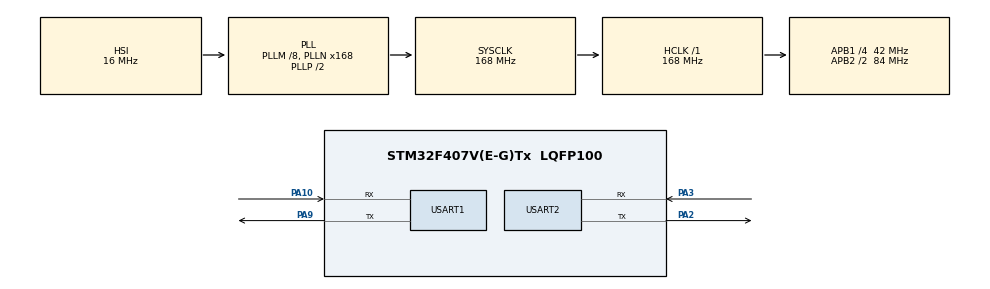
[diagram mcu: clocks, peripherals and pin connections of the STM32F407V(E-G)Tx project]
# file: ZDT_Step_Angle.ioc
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Mcu.Family=STM32F4
Mcu.Name=STM32F407V(E-G)Tx
Mcu.Package=LQFP100
NVIC.PriorityGroup=NVIC_PRIORITYGROUP_4
NVIC.USART1_IRQn=true\:0\:0\:false\:false\:true\:true\:true\:true
PA10.Mode=Asynchronous
PA10.Signal=USART1_RX
PA13.Mode=Serial_Wire
PA13.Signal=SYS_JTMS-SWDIO
PA14.Mode=Serial_Wire
PA14.Signal=SYS_JTCK-SWCLK
PA2.Mode=Asynchronous
PA2.Signal=USART2_TX
PA3.Mode=Asynchronous
PA3.Signal=USART2_RX
PA9.Mode=Asynchronous
PA9.Signal=USART1_TX
PH0-OSC_IN.Mode=HSE-External-Oscillator
PH0-OSC_IN.Signal=RCC_OSC_IN
PH1-OSC_OUT.Mode=HSE-External-Oscillator
PH1-OSC_OUT.Signal=RCC_OSC_OUT
ProjectManager.HeapSize=0x200
ProjectManager.StackSize=0x400
ProjectManager.TargetToolchain=MDK-ARM V5.32
RCC.48MHZClocksFreq_Value=84000000
RCC.AHBFreq_Value=168000000
RCC.APB1CLKDivider=RCC_HCLK_DIV4
RCC.APB1Freq_Value=42000000
RCC.APB1TimFreq_Value=84000000
RCC.APB2CLKDivider=RCC_HCLK_DIV2
RCC.APB2Freq_Value=84000000
RCC.APB2TimFreq_Value=168000000
RCC.CortexFreq_Value=168000000
RCC.HCLKFreq_Value=168000000
RCC.HSE_VALUE=25000000
RCC.HSI_VALUE=16000000
RCC.LSE_VALUE=32768
RCC.PLLM=8
RCC.PLLN=168
RCC.SYSCLKFreq_VALUE=168000000
RCC.SYSCLKSource=RCC_SYSCLKSOURCE_PLLCLK
RCC.VCOOutputFreq_Value=336000000
USART1.VirtualMode=VM_ASYNC
USART2.VirtualMode=VM_ASYNC
board=custom

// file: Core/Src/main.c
/* USER CODE BEGIN Header */
/**
  ******************************************************************************
  * @file           : main.c
  * @brief          : Main program body
  ******************************************************************************
  * @attention
  *
  * Copyright (c) 2025 STMicroelectronics.
  * All rights reserved.
  *
  * This software is licensed under terms that can be found in the LICENSE file
  * in the root directory of this software component.
  * If no LICENSE file comes with this software, it is provided AS-IS.
  *
  ******************************************************************************
  */
/* USER CODE END Header */
#include "main.h"
#include "usart.h"
#include "gpio.h"

/* USER CODE BEGIN Includes */

#include "ZDT_X42_V2.h"

/* USER CODE END Includes */

/* USER CODE BEGIN PTD */

//ZDT_UART
uint8_t  u_rxBuf[RX_BUF_LEN];
uint8_t rx_one_byte;

//Test_UART
uint8_t Test_RxByte;

// 定义接收数据数组、接收数据长度
uint8_t rxCmd[128] = {0};
uint8_t rxCount = 0;

/* USER CODE END PTD */

void SystemClock_Config(void);

int main(void)
{

  /* MCU Configuration--------------------------------------------------------*/

  /* Reset of all peripherals, Initializes the Flash interface and the Systick. */
  HAL_Init();

  /* Configure the system clock */
  SystemClock_Config();

  /* Initialize all configured peripherals */
  MX_GPIO_Init();
  MX_USART1_UART_Init();
  MX_USART2_UART_Init();
  /* USER CODE BEGIN 2 */

	//ZDT_UART
	HAL_UART_Receive_IT(&huart1, &rx_one_byte, sizeof(rx_one_byte));
	HAL_UARTEx_ReceiveToIdle_IT(&huart1, u_rxBuf, RX_BUF_LEN);

//	ZDT_X42_Controll_StepAngle(1,0,2000.0f,50.0f,0,0);		/* demo */

  /* USER CODE END 2 */

  /* Infinite loop */
  /* USER CODE BEGIN WHILE */
  while (1)
  {
			//Test_UART
			HAL_UART_Receive(&huart2, &Test_RxByte, sizeof(Test_RxByte),HAL_MAX_DELAY);
			if(Test_RxByte == 0xA1)		ZDT_X42_Controll_StepAngle(1,0,2000.0f,50.0f,0,0);		/* demo */	/* Set Step */
			else if(Test_RxByte == 0xA2)
			{
					ZDT_X42_V2_Set_TurnToZero_Params(1,0,30,10000,300,800,60);		/* Set Params */
					ZDT_X42_Origin_Set_O(1);		/* Set Zero */
			}
			else if(Test_RxByte == 0xA3)	ZDT_X42_triggle_to_zero(1);		/* Turn to Zero */

			Test_RxByte = 0;

    /* USER CODE END WHILE */

  }
}

void SystemClock_Config(void)
{
  RCC_OscInitTypeDef RCC_OscInitStruct = {0};
  RCC_ClkInitTypeDef RCC_ClkInitStruct = {0};

  /** Configure the main internal regulator output voltage
  */
  __HAL_RCC_PWR_CLK_ENABLE();
  __HAL_PWR_VOLTAGESCALING_CONFIG(PWR_REGULATOR_VOLTAGE_SCALE1);

  /** Initializes the RCC Oscillators according to the specified parameters
  * in the RCC_OscInitTypeDef structure.
  */
  RCC_OscInitStruct.OscillatorType = RCC_OSCILLATORTYPE_HSI;
  RCC_OscInitStruct.HSIState = RCC_HSI_ON;
  RCC_OscInitStruct.HSICalibrationValue = RCC_HSICALIBRATION_DEFAULT;
  RCC_OscInitStruct.PLL.PLLState = RCC_PLL_ON;
  RCC_OscInitStruct.PLL.PLLSource = RCC_PLLSOURCE_HSI;
  RCC_OscInitStruct.PLL.PLLM = 8;
  RCC_OscInitStruct.PLL.PLLN = 168;
  RCC_OscInitStruct.PLL.PLLP = RCC_PLLP_DIV2;
  RCC_OscInitStruct.PLL.PLLQ = 4;
  if (HAL_RCC_OscConfig(&RCC_OscInitStruct) != HAL_OK)
  {
    Error_Handler();
  }

  /** Initializes the CPU, AHB and APB buses clocks
  */
  RCC_ClkInitStruct.ClockType = RCC_CLOCKTYPE_HCLK|RCC_CLOCKTYPE_SYSCLK
                              |RCC_CLOCKTYPE_PCLK1|RCC_CLOCKTYPE_PCLK2;
  RCC_ClkInitStruct.SYSCLKSource = RCC_SYSCLKSOURCE_PLLCLK;
  RCC_ClkInitStruct.AHBCLKDivider = RCC_SYSCLK_DIV1;
  RCC_ClkInitStruct.APB1CLKDivider = RCC_HCLK_DIV4;
  RCC_ClkInitStruct.APB2CLKDivider = RCC_HCLK_DIV2;

  if (HAL_RCC_ClockConfig(&RCC_ClkInitStruct, FLASH_LATENCY_5) != HAL_OK)
  {
    Error_Handler();
  }
}

void Error_Handler(void)
{
  __disable_irq();
  while (1)
  {
  }
}
